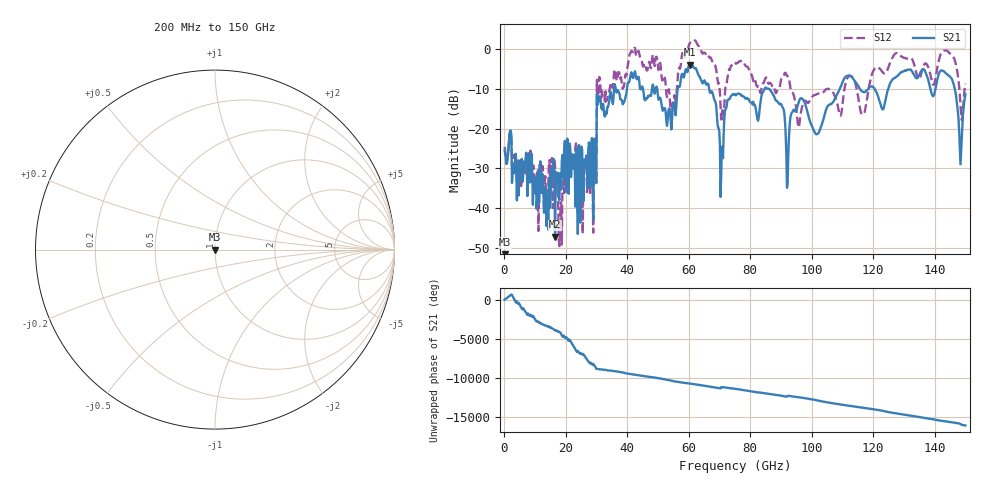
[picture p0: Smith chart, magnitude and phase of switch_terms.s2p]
!  2-Port S-parameters saved by WinCal
# Hz S RI R 50
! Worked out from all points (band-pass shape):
!   750 points, 200 MHz to 150 GHz, reference 50 ohm
!   highest |S21| = -3.91 dB at 60.4 GHz (marker M1); lowest = -47.2 dB at 16.6 GHz (marker M2)
!   |S21| within 3 dB of the highest: 58.55 GHz to 63.56 GHz (5.012 GHz wide, 8.21 % of centre); 127.7 GHz to 133.6 GHz (5.959 GHz wide, 4.56 % of centre) (the widest 2 of 8)
!   lowest |S11| = - dB at 200 MHz (marker M3), VSWR 1.00, Z = 50 + j0 ohm
!   |S11| at or under -10 dB: start of sweep to end of sweep
!   |S22| runs from - to - dB; largest |S21 - S12| = 1.4
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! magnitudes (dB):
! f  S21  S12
! 200 MHz  -25.5  -24.6
! 16.6 GHz  -47.2  -29.4
! 18.2 GHz  -31.3  -46.6
! 20.6 GHz  -22.5  -35.3
! 25.2 GHz  -24.6  -25.4
! 29.4 GHz  -22.6  -23.5
! 30.8 GHz  -13.2  -7.6
! 50.2 GHz  -12.7  -5.2
! 54.6 GHz  -18.1  -16.5
! 60.4 GHz  -3.9  1.5
! 68.2 GHz  -12.3  -3.6
! 70.8 GHz  -24.9  -17.1
! 75.2 GHz  -11.6  -3.5
! 86.6 GHz  -10.4  -8.5
! 92.2 GHz  -33.7  -6.9
! 96.4 GHz  -12.4  -16.6
! 100.2 GHz  -19.5  -12.0
! 116.6 GHz  -10.7  -16.5
! 125.2 GHz  -9.3  -4.1
! 143 GHz  -5.6  -0.4
! 148.4 GHz  -29.0  -13.9
! 150 GHz  -11.4  -8.7
